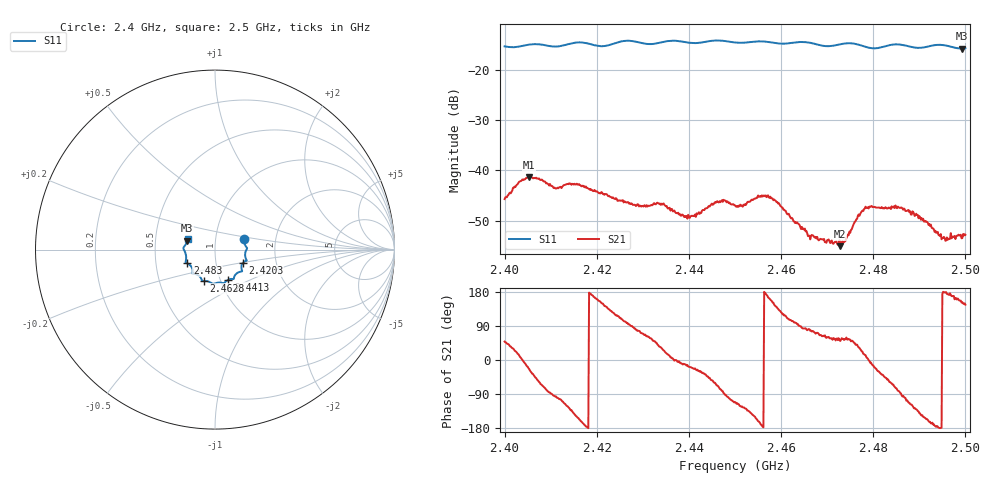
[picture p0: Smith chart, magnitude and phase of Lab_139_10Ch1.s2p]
# Hz S RI R 50
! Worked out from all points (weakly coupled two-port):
!   601 points, 2.4 GHz to 2.5 GHz, reference 50 ohm
!   highest |S21| = -41.35 dB at 2.4053 GHz (marker M1); lowest = -55.1 dB at 2.4728 GHz (marker M2)
!   lowest |S11| = -15.8 dB at 2.4993 GHz (marker M3), VSWR 1.39, Z = 36.5 + j3.71 ohm
!   |S11| at or under -10 dB: start of sweep to end of sweep
!   S12 and S22 are empty: the file has one direction only
!   S11 on the Smith chart (normalised r, x): 2.4 GHz: 1.37, +0.16; 2.4203 GHz: 1.35, -0.21; 2.4413 GHz: 1.09, -0.38; 2.4628 GHz: 0.83, -0.30; 2.483 GHz: 0.72, -0.11; 2.5 GHz: 0.73, +0.09
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2.4e9  0.1606 0.057  0.00342 0.00388  0 0  0 0
2.405333e9  0.177 0.012  0.00783 -0.00348  0 0  0 0
2.411167e9  0.1681 -0.0229  -0.000707 -0.00654  0 0  0 0
2.416667e9  0.1759 -0.0614  -0.00661 -0.00209  0 0  0 0
2.420333e9  0.1554 -0.0738  -0.00549 0.00237  0 0  0 0
2.428167e9  0.1468 -0.1218  0.000548 0.00451  0 0  0 0
2.433333e9  0.108 -0.1485  0.00363 0.00297  0 0  0 0
2.439167e9  0.0925 -0.1633  0.00343 -0.000713  0 0  0 0
2.441333e9  0.0742 -0.1679  0.00336 -0.00138  0 0  0 0
2.446167e9  0.0496 -0.1886  0.00189 -0.00455  0 0  0 0
2.45e9  0.0295 -0.1838  -0.00161 -0.0042  0 0  0 0
2.456667e9  -0.0152 -0.1891  -0.0056 0.000484  0 0  0 0
2.462833e9  -0.0628 -0.1749  -0.000477 0.00307  0 0  0 0
2.466667e9  -0.0744 -0.1676  0.000577 0.0022  0 0  0 0
2.472833e9  -0.1173 -0.1347  0.00113 0.00135  0 0  0 0
2.478e9  -0.1245 -0.1164  0.00396 0.00108  0 0  0 0
2.483e9  -0.1549 -0.0766  0.0026 -0.00326  0 0  0 0
2.483333e9  -0.1571 -0.0756  0.00251 -0.00345  0 0  0 0
2.489e9  -0.1606 -0.041  -0.0021 -0.00282  0 0  0 0
2.495333e9  -0.1746 0.0126  -0.00218 3.65e-05  0 0  0 0
2.499333e9  -0.1542 0.0495  -0.00188 0.000981  0 0  0 0
2.5e9  -0.1525 0.0587  -0.00189 0.00128  0 0  0 0
